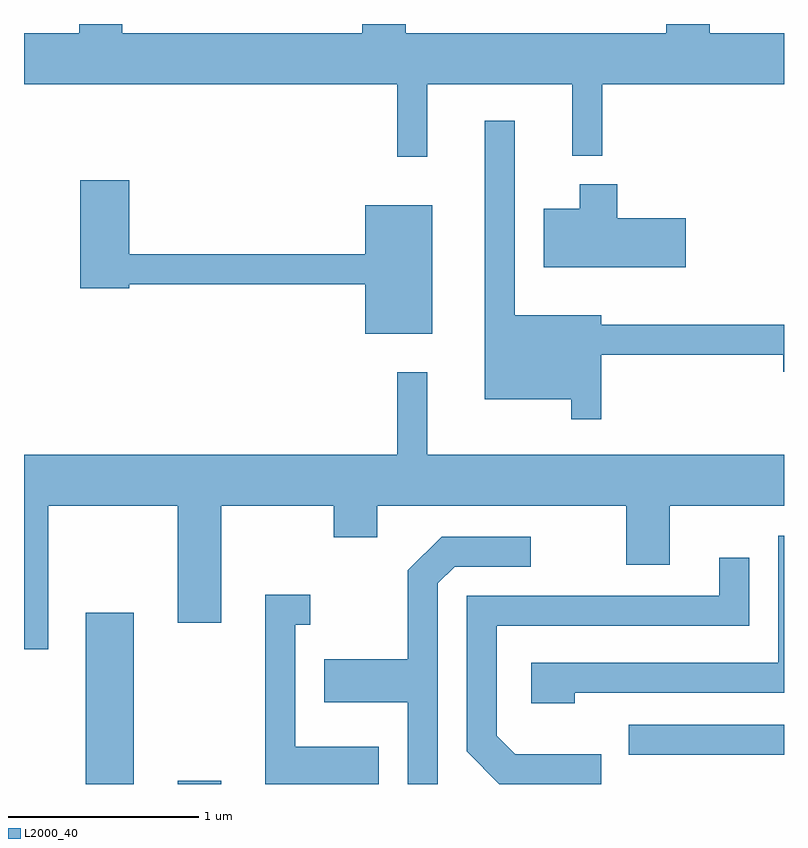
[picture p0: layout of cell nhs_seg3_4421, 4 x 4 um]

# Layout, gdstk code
import gdstk
lib = gdstk.Library(unit=1e-6, precision=1e-09)
def R(c, l, rs):  # rectangles x0, y0, x1, y1
    for r in rs: c.add(gdstk.rectangle(r[:2], r[2:], *l))
def P(c, l, *ps):  # polygons
    for p in ps: c.add(gdstk.Polygon(p, *l))
L2000_40 = (2000, 40)

nhs_seg3_4421 = lib.new_cell('nhs_seg3_4421')
R(nhs_seg3_4421, L2000_40, [(315.936,1117.892,316.189,1118.794), (316.421,1117.892,316.649,1117.909), (318.793,1118.046,319.611,1118.204)])
P(nhs_seg3_4421, L2000_40, [(317.734,1121.576),(318.496,1121.576),(318.496,1121.198),(318.654,1121.198),(318.654,1121.576),(319.611,1121.576),(319.611,1121.844),(319.219,1121.844),(319.219,1121.892),(318.991,1121.892),(318.991,1121.844),(317.619,1121.844),(317.619,1121.892),(317.391,1121.892),(317.391,1121.844),(316.129,1121.844),(316.129,1121.892),(315.901,1121.892),(315.901,1121.844),(315.611,1121.844),(315.611,1121.576),(317.576,1121.576),(317.576,1121.193),(317.734,1121.193)],
  [(318.649,1120.151),(319.606,1120.151),(319.606,1120.061),(319.611,1120.061),(319.611,1120.309),(318.649,1120.309),(318.649,1120.359),(318.194,1120.359),(318.194,1121.383),(318.036,1121.383),(318.036,1119.916),(318.491,1119.916),(318.491,1119.813),(318.649,1119.813)],
  [(317.759,1120.939),(317.406,1120.939),(317.406,1120.679),(316.164,1120.679),(316.164,1121.069),(315.906,1121.069),(315.906,1120.501),(316.164,1120.501),(316.164,1120.521),(317.406,1120.521),(317.406,1120.261),(317.759,1120.261)],
  [(319.094,1120.869),(318.734,1120.869),(318.734,1121.049),(318.536,1121.049),(318.536,1120.919),(318.346,1120.919),(318.346,1120.611),(319.094,1120.611)],
  [(315.739,1119.356),(316.421,1119.356),(316.421,1118.741),(316.649,1118.741),(316.649,1119.356),(317.241,1119.356),(317.241,1119.191),(317.469,1119.191),(317.469,1119.356),(318.781,1119.356),(318.781,1119.046),(319.009,1119.046),(319.009,1119.356),(319.611,1119.356),(319.611,1119.624),(317.734,1119.624),(317.734,1120.058),(317.576,1120.058),(317.576,1119.624),(315.611,1119.624),(315.611,1118.601),(315.739,1118.601)],
  [(318.509,1118.371),(319.611,1118.371),(319.611,1119.199),(319.581,1119.199),(319.581,1118.529),(318.281,1118.529),(318.281,1118.316),(318.509,1118.316)],
  [(317.789,1118.949),(317.877,1119.036),(318.278,1119.036),(318.278,1119.194),(317.809,1119.194),(317.631,1119.017),(317.631,1118.549),(317.191,1118.549),(317.191,1118.321),(317.631,1118.321),(317.631,1117.892),(317.789,1117.892)],
  [(318.649,1118.049),(318.197,1118.049),(318.099,1118.147),(318.099,1118.726),(319.429,1118.726),(319.429,1119.083),(319.271,1119.083),(319.271,1118.884),(317.941,1118.884),(317.941,1118.064),(318.113,1117.892),(318.649,1117.892)],
  [(317.479,1118.089),(317.039,1118.089),(317.039,1118.731),(317.118,1118.731),(317.118,1118.889),(316.881,1118.889),(316.881,1117.892),(317.479,1117.892)])

lib.write_gds('nhs_seg3_4421.gds')
